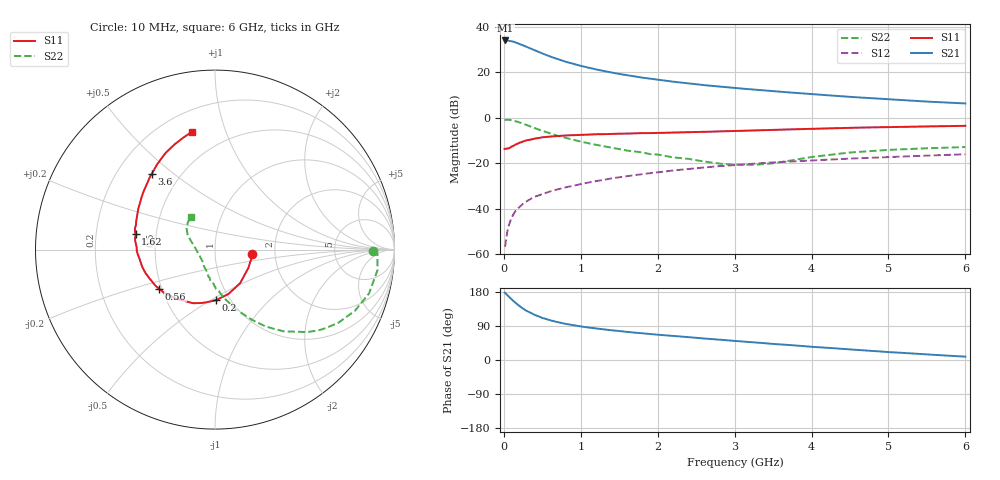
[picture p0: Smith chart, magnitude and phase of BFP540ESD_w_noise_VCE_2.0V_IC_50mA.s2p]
! Infineon Technologies  Discrete & RF Semiconductors
! BFP540ESD
! VCE =  2.0 V,  IC =  50 mA
! Common Emitter S-Parameters:  Nov 2015
# GHz  S  MA  R  50
!  f  S11  S21  S12  S22
! GHz  MAG  ANG  MAG  ANG  MAG  ANG  MAG  ANG
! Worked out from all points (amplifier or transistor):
!   210 points, 10 MHz to 6 GHz, reference 50 ohm
!   highest |S21| = 34.1 dB at 20 MHz (marker M1)
!   |S21| within 3 dB of that: start of sweep to 308.4 MHz
!   unconditionally stable (mu >= 1): start of sweep to 19.67 MHz; 1.402 GHz to end of sweep
!   at 185 MHz: K = 0.38, MSG = 36.3 dB, |S12| = -39.8 dB
!   at 1.52 GHz: K = 1.02, MAG = 21.8 dB, |S12| = -26.1 dB
!   at 6 GHz: K = 1.11, MAG = 9.1 dB, |S12| = -16.0 dB
!   lowest NFmin = 1.82 dB at 900 MHz
!   S11 on the Smith chart (normalised r, x): 10 MHz: 1.51, -0.08; 200 MHz: 0.86, -0.53; 560 MHz: 0.48, -0.25; 1.62 GHz: 0.38, +0.08; 3.6 GHz: 0.35, +0.42; 6 GHz: 0.32, +0.77
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0.01  0.2065 -7.0  50.47 178.0  0.0015 121.2  0.8822 -0.4
0.02  0.2084 -13.3  50.49 176.4  0.0016 118.5  0.9054 -1.6
0.05  0.2122 -28.7  50.2 170.1  0.0034 90.9  0.9125 -7.2
0.1  0.2338 -53.3  48.56 160.2  0.0063 82.8  0.8923 -15.9
0.15  0.2587 -73.3  45.97 150.9  0.0088 76.5  0.8505 -23.7
0.2  0.2818 -88.9  42.81 142.7  0.0108 73.6  0.7988 -30.7
0.24  0.2978 -99.3  40.08 137.0  0.0125 71.1  0.7558 -35.4
0.3  0.3226 -112.1  36.27 129.2  0.0147 69.6  0.6914 -41.6
0.4  0.3491 -128.2  30.55 119.0  0.0183 66.8  0.5965 -49.8
0.5  0.3728 -140.0  26.06 111.0  0.0209 64.0  0.5173 -56.3
0.56  0.3807 -145.2  23.83 107.5  0.0228 64.8  0.4791 -59.1
0.7  0.3982 -155.8  19.63 99.8  0.0268 64.6  0.4039 -65.4
0.8  0.4096 -161.9  17.29 95.4  0.0295 64.2  0.3625 -69.6
1.02  0.4224 -172.2  13.68 88.1  0.0354 64.4  0.2946 -76.5
1.3  0.437 178.3  10.73 80.8  0.0433 63.4  0.2354 -84.0
1.62  0.4507 169.1  8.573 73.9  0.0527 61.6  0.1889 -93.2
2.02  0.4674 159.8  6.824 66.4  0.0637 58.7  0.1535 -103.9
3.1  0.519 138.6  4.396 49.0  0.094 49.3  0.0923 -150.1
3.6  0.5501 129.9  3.747 41.1  0.1068 44.1  0.1062 178.8
4.1  0.5804 122.5  3.238 33.6  0.1178 39.2  0.1442 159.6
5.1  0.6316 110.0  2.507 19.8  0.1392 29.6  0.2003 141.6
6  0.6676 101.3  2.074 8.8  0.1579 22.4  0.2279 126.6
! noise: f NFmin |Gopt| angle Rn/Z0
0.9  1.82  0.49  -140  0.15
1.8  1.97  0.51  -142  0.15
2.4  2.02  0.52  -132  0.19
3  2.14  0.54  -123  0.26
4  2.19  0.61  -102  0.45
5  2.28  0.69  -86  0.67
6  2.72  0.63  -83  1.04
